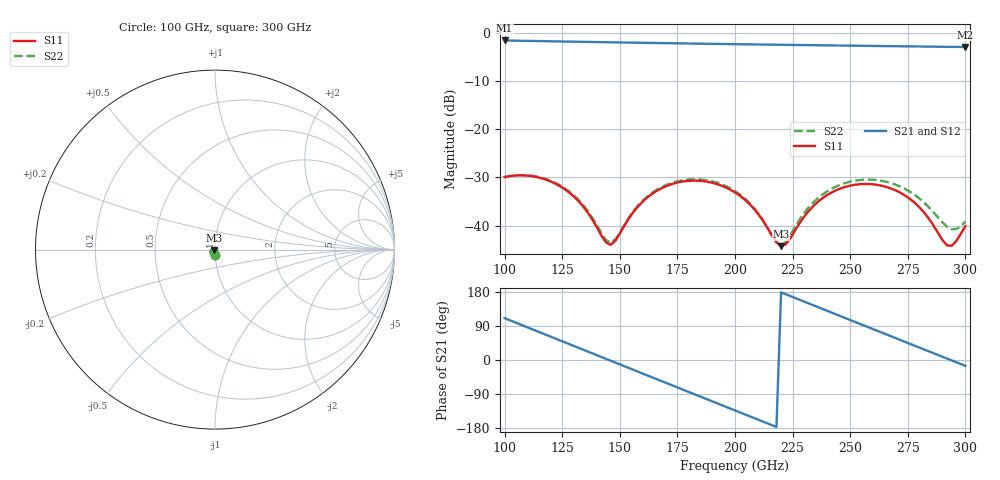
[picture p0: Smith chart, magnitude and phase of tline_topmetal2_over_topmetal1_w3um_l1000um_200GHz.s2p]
#  GHZ S DB R 50
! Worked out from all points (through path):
!   101 points, 100 GHz to 300 GHz, reference 50 ohm
!   highest |S21| = -1.53 dB at 100 GHz (marker M1); lowest = -2.9 dB at 300 GHz (marker M2)
!   group delay of S21, straight-line fit = 6.75 ps
!   lowest |S11| = -44.3 dB at 220 GHz (marker M3), VSWR 1.01, Z = 49.5 - j0.379 ohm
!   |S11| at or under -10 dB: start of sweep to end of sweep
!   |S22| runs from -44.1 to -29.5 dB; largest |S21 - S12| = 1.3e-14
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100  -29.90 -86.9  -1.53 110.4  -1.53 110.4  -29.95 -87.5
108  -29.55 -106.3  -1.60 90.9  -1.60 90.9  -29.51 -106.6
116  -30.15 -125.2  -1.67 71.3  -1.67 71.3  -30.04 -125.2
126  -32.40 -146.6  -1.75 47.0  -1.75 47.0  -32.20 -146.4
134  -35.96 -158.5  -1.81 27.5  -1.81 27.5  -35.66 -158.2
144  -43.49 -136.2  -1.89 3.1  -1.89 3.1  -43.01 -137.0
146  -43.99 -118.8  -1.91 -1.8  -1.91 -1.8  -43.58 -120.3
158  -35.96 -84.4  -2.00 -31.0  -2.00 -31.0  -35.78 -84.5
168  -32.26 -99.9  -2.07 -55.3  -2.07 -55.3  -32.04 -99.4
176  -30.95 -116.1  -2.13 -74.8  -2.13 -74.8  -30.69 -115.3
184  -30.67 -133.1  -2.19 -94.2  -2.19 -94.2  -30.40 -132.0
200  -33.10 -165.0  -2.30 -133.1  -2.30 -133.1  -32.83 -163.4
210  -37.55 -176.7  -2.36 -157.3  -2.36 -157.3  -37.37 -174.5
220  -44.27 -141.3  -2.42 178.4  -2.42 178.4  -44.07 -134.9
234  -35.94 -101.7  -2.51 144.4  -2.51 144.4  -35.19 -97.4
244  -32.63 -116.6  -2.57 120.1  -2.57 120.1  -31.85 -112.3
252  -31.51 -131.9  -2.62 100.7  -2.62 100.7  -30.67 -127.2
268  -32.34 -163.1  -2.71 61.9  -2.71 61.9  -31.20 -157.1
280  -36.17 179.2  -2.78 32.9  -2.78 32.9  -34.36 -173.4
292  -44.09 -153.4  -2.85 3.8  -2.85 3.8  -40.21 -158.7
296  -43.24 -121.5  -2.87 -5.9  -2.87 -5.9  -40.71 -138.1
300  -40.11 -106.4  -2.89 -15.6  -2.89 -15.6  -39.18 -121.2
